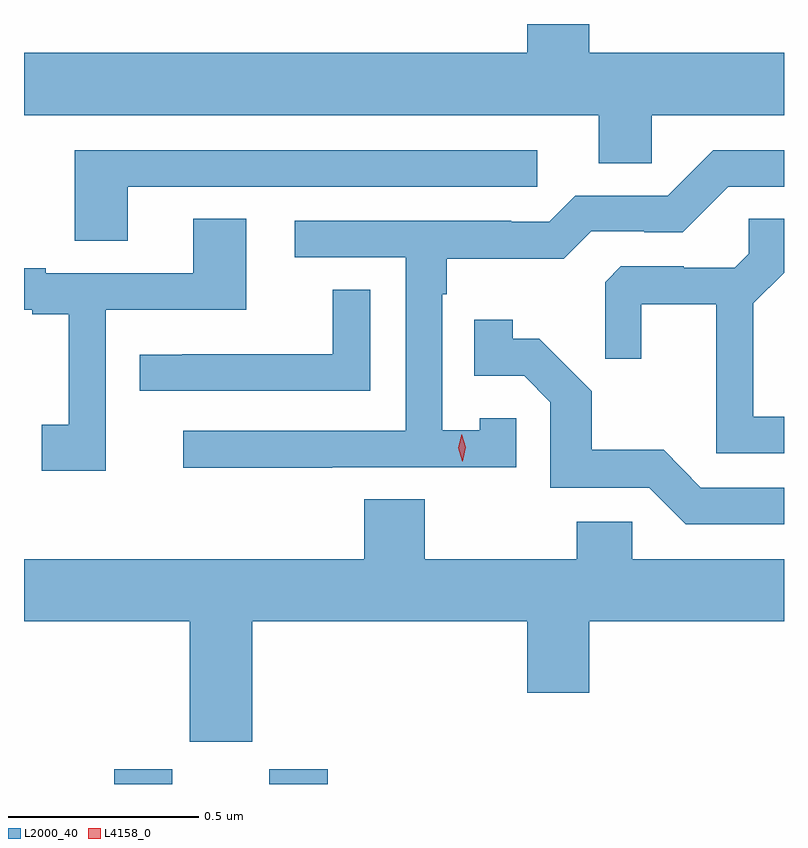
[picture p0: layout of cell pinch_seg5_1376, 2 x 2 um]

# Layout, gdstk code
import gdstk
lib = gdstk.Library(unit=1e-6, precision=1e-09)
def R(c, l, rs):  # rectangles x0, y0, x1, y1
    for r in rs: c.add(gdstk.rectangle(r[:2], r[2:], *l))
def P(c, l, *ps):  # polygons
    for p in ps: c.add(gdstk.Polygon(p, *l))
L2000_40 = (2000, 40)
L4158_0 = (4158, 0)

pinch_seg5_1376 = lib.new_cell('pinch_seg5_1376')
R(pinch_seg5_1376, L2000_40, [(307.778,904.284,307.93,904.323), (308.186,904.284,308.339,904.323)])
P(pinch_seg5_1376, L2000_40, [(309.192,906.044),(309.54,906.044),(309.54,906.208),(309.028,906.208),(309.028,906.284),(308.864,906.284),(308.864,906.208),(307.54,906.208),(307.54,906.044),(309.053,906.044),(309.053,905.917),(309.192,905.917)],
  [(307.813,905.856),(308.89,905.856),(308.89,905.952),(307.673,905.952),(307.673,905.713),(307.813,905.713)],
  [(308.351,905.118),(308.835,905.118),(308.835,905.247),(308.739,905.247),(308.739,905.215),(308.64,905.215),(308.64,905.573),(308.653,905.573),(308.653,905.666),(308.96,905.666),(309.033,905.739),(309.172,905.739),(309.172,905.736),(309.273,905.736),(309.393,905.856),(309.54,905.856),(309.54,905.952),(309.354,905.952),(309.234,905.832),(308.991,905.832),(308.922,905.763),(308.822,905.763),(308.822,905.766),(308.253,905.766),(308.253,905.67),(308.544,905.67),(308.544,905.214),(307.959,905.214),(307.959,905.116),(308.351,905.116)],
  [(309.54,905.25),(309.459,905.25),(309.459,905.549),(309.54,905.63),(309.54,905.771),(309.447,905.771),(309.447,905.68),(309.41,905.643),(309.276,905.643),(309.276,905.646),(309.111,905.646),(309.07,905.605),(309.07,905.403),(309.164,905.403),(309.164,905.546),(309.362,905.546),(309.362,905.154),(309.54,905.154)],
  [(307.755,905.532),(308.125,905.532),(308.125,905.771),(307.985,905.771),(307.985,905.628),(307.597,905.628),(307.597,905.641),(307.54,905.641),(307.54,905.532),(307.562,905.532),(307.562,905.52),(307.658,905.52),(307.658,905.229),(307.587,905.229),(307.587,905.109),(307.755,905.109)],
  [(308.451,905.585),(308.353,905.585),(308.353,905.415),(307.957,905.415),(307.957,905.414),(307.845,905.414),(307.845,905.319),(308.451,905.319)],
  [(309.54,905.064),(309.321,905.064),(309.223,905.163),(309.034,905.163),(309.034,905.318),(308.896,905.456),(308.826,905.456),(308.826,905.506),(308.725,905.506),(308.725,905.358),(308.856,905.358),(308.925,905.289),(308.925,905.064),(309.186,905.064),(309.282,904.968),(309.54,904.968)],
  [(308.14,904.712),(308.864,904.712),(308.864,904.524),(309.028,904.524),(309.028,904.712),(309.54,904.712),(309.54,904.876),(309.141,904.876),(309.141,904.974),(308.995,904.974),(308.995,904.876),(308.595,904.876),(308.595,905.033),(308.435,905.033),(308.435,904.876),(307.54,904.876),(307.54,904.712),(307.976,904.712),(307.976,904.395),(308.14,904.395)])
P(pinch_seg5_1376, L4158_0, [(308.693,905.133),(308.683,905.169),(308.692,905.205),(308.692,905.205),(308.692,905.205),(308.703,905.17),(308.694,905.133),(308.694,905.133)])

lib.write_gds('pinch_seg5_1376.gds')
